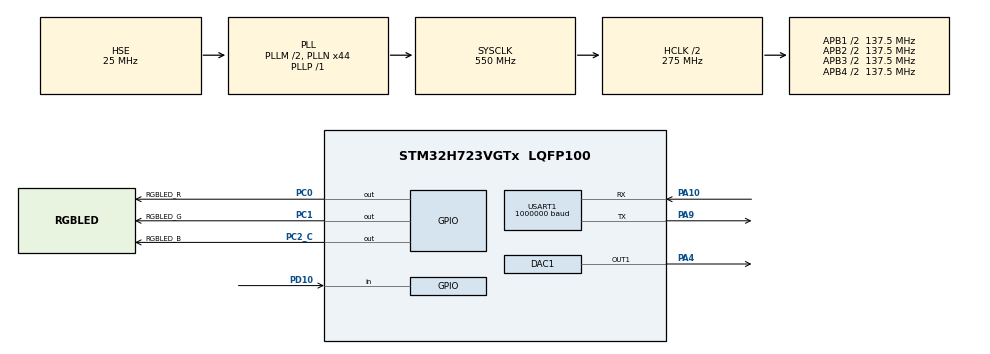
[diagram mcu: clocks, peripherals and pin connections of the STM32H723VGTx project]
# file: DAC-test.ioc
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CORTEX_M7.AccessPermission-Cortex_Memory_Protection_Unit_Region0_Settings=MPU_REGION_FULL_ACCESS
CORTEX_M7.AccessPermission-Cortex_Memory_Protection_Unit_Region1_Settings=MPU_REGION_FULL_ACCESS
CORTEX_M7.AccessPermission_S-Cortex_Memory_Protection_Unit_Region2_Settings_S=MPU_REGION_FULL_ACCESS
CORTEX_M7.AccessPermission_Spec=MPU_REGION_FULL_ACCESS
CORTEX_M7.BaseAddress-Cortex_Memory_Protection_Unit_Region0_Settings=0x24000000
CORTEX_M7.BaseAddress-Cortex_Memory_Protection_Unit_Region1_Settings=0x30000000
CORTEX_M7.BaseAddress_S-Cortex_Memory_Protection_Unit_Region1_Settings_S=0x30000000
CORTEX_M7.BaseAddress_S-Cortex_Memory_Protection_Unit_Region2_Settings_S=0x30020000
CORTEX_M7.BaseAddress_Spec=0x24000000
CORTEX_M7.CPU_DCache=Enabled
CORTEX_M7.CPU_ICache=Enabled
CORTEX_M7.DisableExec_Spec=MPU_INSTRUCTION_ACCESS_ENABLE
CORTEX_M7.Enable-Cortex_Memory_Protection_Unit_Region0_Settings=MPU_REGION_ENABLE
CORTEX_M7.Enable-Cortex_Memory_Protection_Unit_Region1_Settings=MPU_REGION_ENABLE
CORTEX_M7.Enable_S-Cortex_Memory_Protection_Unit_Region1_Settings_S=MPU_REGION_ENABLE
CORTEX_M7.Enable_S-Cortex_Memory_Protection_Unit_Region2_Settings_S=MPU_REGION_ENABLE
CORTEX_M7.IsBufferable-Cortex_Memory_Protection_Unit_Region0_Settings=MPU_ACCESS_BUFFERABLE
CORTEX_M7.IsBufferable-Cortex_Memory_Protection_Unit_Region1_Settings=MPU_ACCESS_BUFFERABLE
CORTEX_M7.IsBufferable_S-Cortex_Memory_Protection_Unit_Region1_Settings_S=MPU_ACCESS_BUFFERABLE
CORTEX_M7.IsBufferable_S-Cortex_Memory_Protection_Unit_Region2_Settings_S=MPU_ACCESS_BUFFERABLE
CORTEX_M7.IsBufferable_Spec=MPU_ACCESS_BUFFERABLE
CORTEX_M7.IsCacheable-Cortex_Memory_Protection_Unit_Region0_Settings=MPU_ACCESS_CACHEABLE
CORTEX_M7.IsCacheable-Cortex_Memory_Protection_Unit_Region1_Settings=MPU_ACCESS_CACHEABLE
CORTEX_M7.IsCacheable_S-Cortex_Memory_Protection_Unit_Region1_Settings_S=MPU_ACCESS_CACHEABLE
CORTEX_M7.IsCacheable_S-Cortex_Memory_Protection_Unit_Region2_Settings_S=MPU_ACCESS_CACHEABLE
CORTEX_M7.IsCacheable_Spec=MPU_ACCESS_CACHEABLE
CORTEX_M7.IsShareable-Cortex_Memory_Protection_Unit_Region0_Settings=MPU_ACCESS_SHAREABLE
CORTEX_M7.IsShareable-Cortex_Memory_Protection_Unit_Region1_Settings=MPU_ACCESS_SHAREABLE
CORTEX_M7.IsShareable_S-Cortex_Memory_Protection_Unit_Region1_Settings_S=MPU_ACCESS_SHAREABLE
CORTEX_M7.IsShareable_S-Cortex_Memory_Protection_Unit_Region2_Settings_S=MPU_ACCESS_SHAREABLE
CORTEX_M7.MPU_Control=MPU_PRIVILEGED_DEFAULT
CORTEX_M7.Size-Cortex_Memory_Protection_Unit_Region0_Settings=MPU_REGION_SIZE_512KB
CORTEX_M7.Size-Cortex_Memory_Protection_Unit_Region1_Settings=MPU_REGION_SIZE_64KB
CORTEX_M7.Size_S-Cortex_Memory_Protection_Unit_Region1_Settings_S=MPU_REGION_SIZE_128KB
CORTEX_M7.Size_S-Cortex_Memory_Protection_Unit_Region2_Settings_S=MPU_REGION_SIZE_128KB
CORTEX_M7.Size_Spec=MPU_REGION_SIZE_512KB
CORTEX_M7.SubRegionDisable_Spec=0
CORTEX_M7.default_mode_Activation=0
DAC1.DAC1_OutputBuffer-DAC_OUT1=DAC_OUTPUTBUFFER_ENABLE
DAC1.DAC_Channel-DAC_OUT1=DAC_CHANNEL_1
DAC1.DAC_SampleAndHold-DAC_OUT1=DAC_SAMPLEANDHOLD_DISABLE
DAC1.DAC_Trigger-DAC_OUT1=DAC_TRIGGER_T15_TRGO
DAC1.DAC_UserTrimming-DAC_OUT1=DAC_TRIMMING_FACTORY
DAC1.WaveGeneration-DAC_OUT1=DISABLE
Dma.DAC1_CH1.0.Direction=DMA_MEMORY_TO_PERIPH
Dma.DAC1_CH1.0.EventEnable=DISABLE
Dma.DAC1_CH1.0.FIFOMode=DMA_FIFOMODE_DISABLE
Dma.DAC1_CH1.0.Instance=DMA1_Stream0
Dma.DAC1_CH1.0.MemDataAlignment=DMA_MDATAALIGN_WORD
Dma.DAC1_CH1.0.MemInc=DMA_MINC_ENABLE
Dma.DAC1_CH1.0.Mode=DMA_CIRCULAR
Dma.DAC1_CH1.0.PeriphDataAlignment=DMA_PDATAALIGN_WORD
Dma.DAC1_CH1.0.PeriphInc=DMA_PINC_DISABLE
Dma.DAC1_CH1.0.Polarity=HAL_DMAMUX_REQ_GEN_RISING
Dma.DAC1_CH1.0.Priority=DMA_PRIORITY_LOW
Dma.DAC1_CH1.0.RequestNumber=1
Dma.DAC1_CH1.0.SignalID=NONE
Dma.DAC1_CH1.0.SyncEnable=DISABLE
Dma.DAC1_CH1.0.SyncPolarity=HAL_DMAMUX_SYNC_NO_EVENT
Dma.DAC1_CH1.0.SyncRequestNumber=1
Dma.DAC1_CH1.0.SyncSignalID=NONE
Dma.Request0=DAC1_CH1
Mcu.Family=STM32H7
Mcu.Name=STM32H723VGTx
Mcu.Package=LQFP100
NVIC.DMA1_Stream0_IRQn=true\:1\:0\:true\:false\:true\:false\:true\:true
NVIC.PriorityGroup=NVIC_PRIORITYGROUP_4
NVIC.TIM1_UP_IRQn=true\:15\:0\:true\:false\:true\:true\:true\:true
PA10.GPIO_Speed=GPIO_SPEED_FREQ_VERY_HIGH
PA10.Mode=Asynchronous
PA10.Signal=USART1_RX
PA4.Signal=COMP_DAC11_group
PA9.GPIO_Speed=GPIO_SPEED_FREQ_VERY_HIGH
PA9.Mode=Asynchronous
PA9.Signal=USART1_TX
PC0.GPIO_Label=RGBLED_R
PC0.GPIO_ModeDefaultOutputPP=GPIO_MODE_OUTPUT_OD
PC0.GPIO_PuPd=GPIO_PULLUP
PC0.Signal=GPIO_Output
PC1.GPIO_Label=RGBLED_G
PC1.GPIO_ModeDefaultOutputPP=GPIO_MODE_OUTPUT_OD
PC1.GPIO_PuPd=GPIO_PULLUP
PC1.Signal=GPIO_Output
PC14-OSC32_IN.Mode=LSE-External-Oscillator
PC14-OSC32_IN.Signal=RCC_OSC32_IN
PC15-OSC32_OUT.Mode=LSE-External-Oscillator
PC15-OSC32_OUT.Signal=RCC_OSC32_OUT
PC2_C.GPIO_Label=RGBLED_B
PC2_C.GPIO_ModeDefaultOutputPP=GPIO_MODE_OUTPUT_OD
PC2_C.GPIO_PuPd=GPIO_PULLUP
PC2_C.Signal=GPIO_Output
PD10.GPIO_PuPd=GPIO_PULLUP
PD10.Signal=GPIO_Input
PH0-OSC_IN.Mode=HSE-External-Oscillator
PH0-OSC_IN.Signal=RCC_OSC_IN
PH1-OSC_OUT.Mode=HSE-External-Oscillator
PH1-OSC_OUT.Signal=RCC_OSC_OUT
ProjectManager.HeapSize=0x200
ProjectManager.StackSize=0x400
ProjectManager.TargetToolchain=Makefile
RCC.ADCFreq_Value=50390625
RCC.APB1Freq_Value=137500000
RCC.APB2Freq_Value=137500000
RCC.APB3Freq_Value=137500000
RCC.APB4Freq_Value=137500000
RCC.CortexFreq_Value=550000000
RCC.D1PPRE=RCC_APB3_DIV2
RCC.D2PPRE1=RCC_APB1_DIV2
RCC.D2PPRE2=RCC_APB2_DIV2
RCC.D3PPRE=RCC_APB4_DIV2
RCC.DIVM1=2
RCC.DIVN1=44
RCC.DIVP1=1
RCC.EnbaleCSS=true
RCC.HCLKFreq_Value=275000000
RCC.HPRE=RCC_HCLK_DIV2
RCC.PLLFRACN=0
RCC.PLLSourceVirtual=RCC_PLLSOURCE_HSE
RCC.SYSCLKFreq_VALUE=550000000
RCC.SYSCLKSource=RCC_SYSCLKSOURCE_PLLCLK
RCC.USBFreq_Value=275000000
SH.COMP_DAC11_group.0=DAC1_OUT1,DAC_OUT1
TIM1.Period=9999
TIM1.Prescaler=27499
TIM1.TIM_MasterOutputTrigger=TIM_TRGO_RESET
TIM1.TIM_MasterOutputTrigger2=TIM_TRGO2_RESET
TIM15.Period=4
TIM15.Prescaler=27
TIM15.TIM_MasterOutputTrigger=TIM_TRGO_UPDATE
USART1.BaudRate=1000000
USART1.VirtualMode-Asynchronous=VM_ASYNC
VP_TIM15_VS_ClockSourceINT.Mode=Internal
VP_TIM1_VS_ClockSourceINT.Mode=Internal
board=custom

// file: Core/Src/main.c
/* USER CODE BEGIN Header */
/**
 ******************************************************************************
 * @file           : main.c
 * @brief          : Main program body
 ******************************************************************************
 * @attention
 *
 * Copyright (c) 2023 STMicroelectronics.
 * All rights reserved.
 *
 * This software is licensed under terms that can be found in the LICENSE file
 * in the root directory of this software component.
 * If no LICENSE file comes with this software, it is provided AS-IS.
 *
 ******************************************************************************
 */
/* USER CODE END Header */
#include "main.h"
#include "dac.h"
#include "dma.h"
#include "tim.h"
#include "usart.h"
#include "gpio.h"

/* USER CODE BEGIN PV */
unsigned int *dac_buffer = DAC_BUFFER_ADDR;
/* USER CODE END PV */

void SystemClock_Config(void);
static void MPU_Config(void);

/* USER CODE BEGIN 0 */
int _write(int file, char *ptr, int len)
{
  HAL_UART_Transmit(&huart1, (const uint8_t *)ptr, len, HAL_MAX_DELAY);
  return len;
}
/* USER CODE END 0 */

int main(void)
{

  /* MPU Configuration--------------------------------------------------------*/
  MPU_Config();

  /* Enable I-Cache---------------------------------------------------------*/
  SCB_EnableICache();

  /* Enable D-Cache---------------------------------------------------------*/
  SCB_EnableDCache();

  /* MCU Configuration--------------------------------------------------------*/

  /* Reset of all peripherals, Initializes the Flash interface and the Systick. */
  HAL_Init();

  /* Configure the system clock */
  SystemClock_Config();

  /* Initialize all configured peripherals */
  MX_GPIO_Init();
  MX_DMA_Init();
  MX_DAC1_Init();
  MX_TIM1_Init();
  MX_TIM15_Init();
  MX_USART1_UART_Init();
  /* USER CODE BEGIN 2 */
  printf("Init.\n");

  wavegen_sinusoidbase_square(dac_buffer, DAC_BUFFER_LENGTH, 2048, 2000, 0, 2000000, 500, 5);

  // HAL_TIM_Base_Start_IT(&htim1);
  HAL_TIM_Base_Start(&htim15);

  printf("Hello.\n");

  HAL_DAC_Start_DMA(&hdac1, DAC_CHANNEL_1, (uint32_t *)dac_buffer, DAC_BUFFER_LENGTH, DAC_ALIGN_12B_R);

  printf("OK.\n");

  /* USER CODE END 2 */

  /* Infinite loop */
  while (1)
  {

    /* USER CODE BEGIN 3 */
    HAL_GPIO_WritePin(RGBLED_R_GPIO_Port, RGBLED_R_Pin, 1);
    HAL_GPIO_WritePin(RGBLED_G_GPIO_Port, RGBLED_G_Pin, 0);
    HAL_GPIO_WritePin(RGBLED_B_GPIO_Port, RGBLED_B_Pin, 0);
    HAL_Delay(500);

    HAL_GPIO_WritePin(RGBLED_R_GPIO_Port, RGBLED_R_Pin, 0);
    HAL_GPIO_WritePin(RGBLED_G_GPIO_Port, RGBLED_G_Pin, 1);
    HAL_GPIO_WritePin(RGBLED_B_GPIO_Port, RGBLED_B_Pin, 0);
    HAL_Delay(500);

    HAL_GPIO_WritePin(RGBLED_R_GPIO_Port, RGBLED_R_Pin, 0);
    HAL_GPIO_WritePin(RGBLED_G_GPIO_Port, RGBLED_G_Pin, 0);
    HAL_GPIO_WritePin(RGBLED_B_GPIO_Port, RGBLED_B_Pin, 1);
    HAL_Delay(500);
  }
  /* USER CODE END 3 */
}

void SystemClock_Config(void)
{
  RCC_OscInitTypeDef RCC_OscInitStruct = {0};
  RCC_ClkInitTypeDef RCC_ClkInitStruct = {0};

  /** Supply configuration update enable
  */
  HAL_PWREx_ConfigSupply(PWR_LDO_SUPPLY);

  /** Configure the main internal regulator output voltage
  */
  __HAL_PWR_VOLTAGESCALING_CONFIG(PWR_REGULATOR_VOLTAGE_SCALE0);

  while(!__HAL_PWR_GET_FLAG(PWR_FLAG_VOSRDY)) {}

  /** Initializes the RCC Oscillators according to the specified parameters
  * in the RCC_OscInitTypeDef structure.
  */
  RCC_OscInitStruct.OscillatorType = RCC_OSCILLATORTYPE_HSE;
  RCC_OscInitStruct.HSEState = RCC_HSE_ON;
  RCC_OscInitStruct.PLL.PLLState = RCC_PLL_ON;
  RCC_OscInitStruct.PLL.PLLSource = RCC_PLLSOURCE_HSE;
  RCC_OscInitStruct.PLL.PLLM = 2;
  RCC_OscInitStruct.PLL.PLLN = 44;
  RCC_OscInitStruct.PLL.PLLP = 1;
  RCC_OscInitStruct.PLL.PLLQ = 2;
  RCC_OscInitStruct.PLL.PLLR = 2;
  RCC_OscInitStruct.PLL.PLLRGE = RCC_PLL1VCIRANGE_3;
  RCC_OscInitStruct.PLL.PLLVCOSEL = RCC_PLL1VCOWIDE;
  RCC_OscInitStruct.PLL.PLLFRACN = 0;
  if (HAL_RCC_OscConfig(&RCC_OscInitStruct) != HAL_OK)
  {
    Error_Handler();
  }

  /** Initializes the CPU, AHB and APB buses clocks
  */
  RCC_ClkInitStruct.ClockType = RCC_CLOCKTYPE_HCLK|RCC_CLOCKTYPE_SYSCLK
                              |RCC_CLOCKTYPE_PCLK1|RCC_CLOCKTYPE_PCLK2
                              |RCC_CLOCKTYPE_D3PCLK1|RCC_CLOCKTYPE_D1PCLK1;
  RCC_ClkInitStruct.SYSCLKSource = RCC_SYSCLKSOURCE_PLLCLK;
  RCC_ClkInitStruct.SYSCLKDivider = RCC_SYSCLK_DIV1;
  RCC_ClkInitStruct.AHBCLKDivider = RCC_HCLK_DIV2;
  RCC_ClkInitStruct.APB3CLKDivider = RCC_APB3_DIV2;
  RCC_ClkInitStruct.APB1CLKDivider = RCC_APB1_DIV2;
  RCC_ClkInitStruct.APB2CLKDivider = RCC_APB2_DIV2;
  RCC_ClkInitStruct.APB4CLKDivider = RCC_APB4_DIV2;

  if (HAL_RCC_ClockConfig(&RCC_ClkInitStruct, FLASH_LATENCY_3) != HAL_OK)
  {
    Error_Handler();
  }

  /** Enables the Clock Security System
  */
  HAL_RCC_EnableCSS();
}

/* MPU Configuration */

void MPU_Config(void)
{
  MPU_Region_InitTypeDef MPU_InitStruct = {0};

  /* Disables the MPU */
  HAL_MPU_Disable();

  /** Initializes and configures the Region and the memory to be protected
  */
  MPU_InitStruct.Enable = MPU_REGION_ENABLE;
  MPU_InitStruct.Number = MPU_REGION_NUMBER0;
  MPU_InitStruct.BaseAddress = 0x24000000;
  MPU_InitStruct.Size = MPU_REGION_SIZE_512KB;
  MPU_InitStruct.SubRegionDisable = 0x0;
  MPU_InitStruct.TypeExtField = MPU_TEX_LEVEL0;
  MPU_InitStruct.AccessPermission = MPU_REGION_FULL_ACCESS;
  MPU_InitStruct.DisableExec = MPU_INSTRUCTION_ACCESS_ENABLE;
  MPU_InitStruct.IsShareable = MPU_ACCESS_SHAREABLE;
  MPU_InitStruct.IsCacheable = MPU_ACCESS_CACHEABLE;
  MPU_InitStruct.IsBufferable = MPU_ACCESS_BUFFERABLE;

  HAL_MPU_ConfigRegion(&MPU_InitStruct);

  /** Initializes and configures the Region and the memory to be protected
  */
  MPU_InitStruct.Number = MPU_REGION_NUMBER1;
  MPU_InitStruct.BaseAddress = 0x30000000;
  MPU_InitStruct.Size = MPU_REGION_SIZE_64KB;

  HAL_MPU_ConfigRegion(&MPU_InitStruct);
  /* Enables the MPU */
  HAL_MPU_Enable(MPU_PRIVILEGED_DEFAULT);

}

void Error_Handler(void)
{
  __disable_irq();
  while (1)
  {
  }
}
